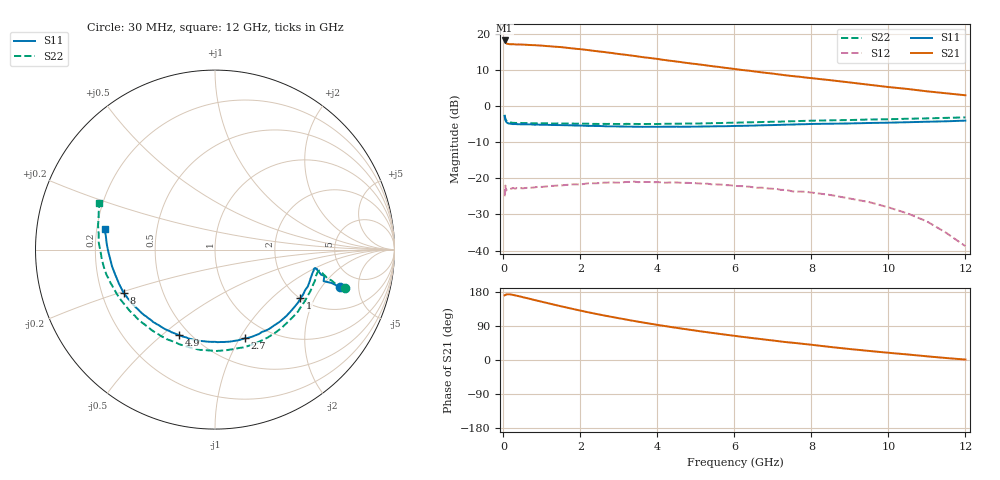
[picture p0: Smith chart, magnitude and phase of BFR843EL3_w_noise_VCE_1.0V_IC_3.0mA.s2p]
! Infineon Technologies  Discrete & RF Semiconductors
! BFR843EL3
! VCE =  1.0 V,  IC =  3.0 mA
! Common Emitter S-Parameters:  Aug 2013
# GHz  S  MA  R  50
!  f  S11  S21  S12  S22
! GHz  MAG  ANG  MAG  ANG  MAG  ANG  MAG  ANG
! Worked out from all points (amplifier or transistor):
!   103 points, 30 MHz to 12 GHz, reference 50 ohm
!   highest |S21| = 18.1 dB at 30 MHz (marker M1)
!   |S21| within 3 dB of that: start of sweep to 2.446 GHz
!   unconditionally stable (mu >= 1): 268 MHz to 330.5 MHz; 7.142 GHz to end of sweep
!   at 400 MHz: K = 0.99, MSG = 19.9 dB, |S12| = -22.8 dB
!   at 3.7 GHz: K = 0.72, MSG = 17.2 dB, |S12| = -21.0 dB
!   at 12 GHz: K = 9.32, MAG = 8.2 dB, |S12| = -38.8 dB
!   lowest NFmin = 1.00 dB at 450 MHz
!   S11 on the Smith chart (normalised r, x): 30 MHz: 3.47, -3.07; 1 GHz: 2.01, -1.56; 2.7 GHz: 0.78, -1.05; 4.9 GHz: 0.44, -0.57; 8 GHz: 0.29, -0.21; 12 GHz: 0.23, +0.09
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0.03  0.7269 -16.7  8.042 170.6  0.0564 35.9  0.7536 -16.4
0.04  0.6758 -16.0  7.753 171.1  0.0611 29.3  0.6992 -15.9
0.05  0.6303 -16.2  7.625 172.1  0.0791 25.5  0.6732 -14.9
0.07  0.6068 -13.3  7.356 172.6  0.0678 17.7  0.6308 -13.4
0.1  0.5828 -11.5  7.233 173.4  0.0702 12.5  0.6082 -12.1
0.15  0.5706 -10.6  7.146 173.5  0.071 7.9  0.5924 -11.4
0.45  0.557 -15.6  7.07 167.3  0.073 4.8  0.5819 -18.4
1  0.5483 -29.7  6.824 153.6  0.0759 3.8  0.5769 -36.7
1.5  0.543 -43.1  6.502 141.7  0.0795 3.3  0.572 -52.9
2.1  0.5326 -58.0  6.003 128.1  0.0835 -0.2  0.5679 -70.9
2.7  0.5213 -71.4  5.482 115.9  0.087 -3.7  0.5638 -86.7
3.3  0.5173 -84.5  4.991 104.6  0.089 -7.4  0.5633 -100.6
4.1  0.5154 -99.2  4.377 91.1  0.088 -14.1  0.5642 -116.4
4.9  0.517 -112.8  3.845 78.9  0.0857 -19.5  0.5699 -130.3
5.6  0.5237 -123.6  3.46 69.1  0.0818 -24.5  0.5792 -140.6
6.1  0.5305 -130.5  3.187 62.5  0.0779 -28.6  0.588 -147.4
6.9  0.5423 -141.3  2.837 52.6  0.0719 -33.3  0.602 -157.3
8  0.5631 -154.6  2.423 40.2  0.0635 -39.9  0.6248 -169.4
8.5  0.5678 -160.4  2.267 34.3  0.0586 -44.3  0.6325 -174.7
9.5  0.5809 -170.5  1.962 23.9  0.0468 -50.8  0.6493 176.4
10.5  0.5952 -179.1  1.716 14.6  0.0326 -53.4  0.6651 168.4
12  0.6265 169.3  1.404 1.2  0.0115 -26.9  0.6942 158.1
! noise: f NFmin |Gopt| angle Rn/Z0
0.45  1  0.3  5  0.24
0.9  1.01  0.29  19  0.22
1.5  1.04  0.3  32  0.21
1.9  1.06  0.3  37  0.2
2.4  1.09  0.31  47  0.2
3.5  1.15  0.3  69  0.17
5.5  1.27  0.33  105  0.13
8  1.41  0.4  147  0.09
10  1.52  0.45  198  0.06
